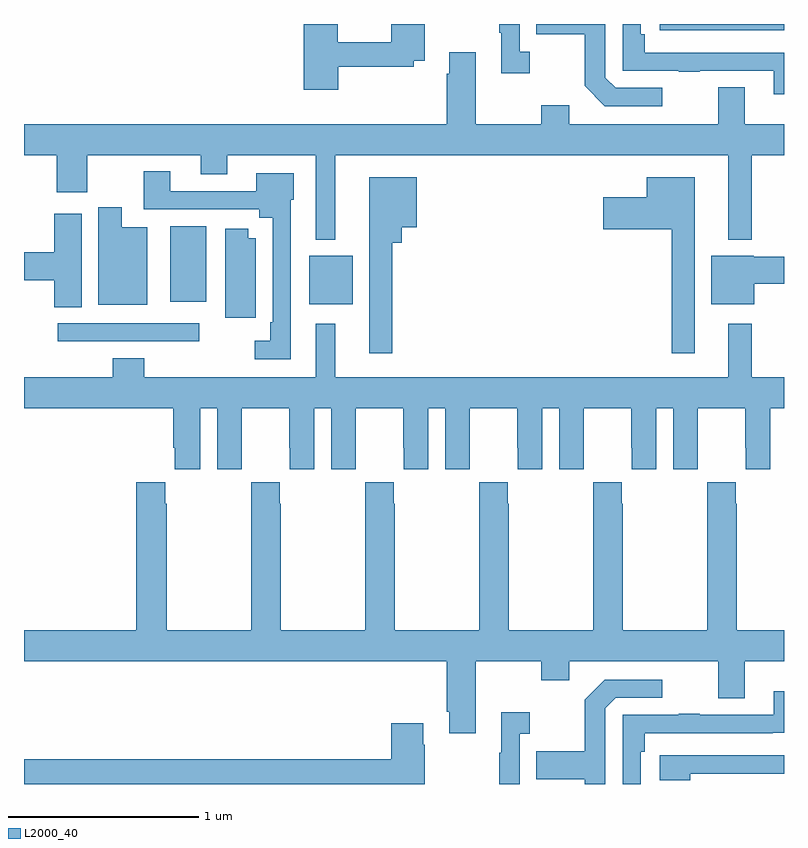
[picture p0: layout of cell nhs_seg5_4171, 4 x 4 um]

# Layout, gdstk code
import gdstk
lib = gdstk.Library(unit=1e-6, precision=1e-09)
def R(c, l, rs):  # rectangles x0, y0, x1, y1
    for r in rs: c.add(gdstk.rectangle(r[:2], r[2:], *l))
def P(c, l, *ps):  # polygons
    for p in ps: c.add(gdstk.Polygon(p, *l))
L2000_40 = (2000, 40)

nhs_seg5_4171 = lib.new_cell('nhs_seg5_4171')
R(nhs_seg5_4171, L2000_40, [(357.177,841.128,357.922,841.224), (358.502,841.325,358.729,841.579), (357.77,841.337,357.958,841.735), (360.345,842.766,361,842.799)])
P(nhs_seg5_4171, L2000_40, [(359.662,842.654),(359.61,842.654),(359.61,842.799),(359.502,842.799),(359.502,842.753),(359.513,842.753),(359.513,842.541),(359.662,842.541)],
  [(358.655,842.574),(359.052,842.574),(359.052,842.606),(359.109,842.606),(359.109,842.799),(358.934,842.799),(358.934,842.702),(358.65,842.702),(358.65,842.799),(358.472,842.799),(358.472,842.454),(358.655,842.454)],
  [(360.358,842.463),(360.114,842.463),(360.06,842.517),(360.06,842.799),(359.695,842.799),(359.695,842.746),(359.952,842.746),(359.952,842.473),(360.057,842.367),(360.358,842.367)],
  [(361,842.648),(360.941,842.648),(360.941,842.649),(360.266,842.649),(360.266,842.746),(360.246,842.746),(360.246,842.799),(360.15,842.799),(360.15,842.553),(360.445,842.553),(360.445,842.548),(360.557,842.548),(360.557,842.553),(360.947,842.553),(360.947,842.43),(361,842.43)],
  [(358.639,842.108),(360.707,842.108),(360.707,841.664),(360.829,841.664),(360.829,842.108),(361,842.108),(361,842.272),(360.793,842.272),(360.793,842.467),(360.653,842.467),(360.653,842.272),(359.869,842.272),(359.869,842.371),(359.722,842.371),(359.722,842.272),(359.377,842.272),(359.377,842.65),(359.237,842.65),(359.237,842.537),(359.225,842.537),(359.225,842.272),(357,842.272),(357,842.108),(357.173,842.108),(357.173,841.914),(357.333,841.914),(357.333,842.108),(357.929,842.108),(357.929,842.009),(358.069,842.009),(358.069,842.108),(358.535,842.108),(358.535,841.664),(358.639,841.664)],
  [(358.404,841.675),(358.405,841.675),(358.405,841.875),(358.42,841.875),(358.42,842.014),(358.223,842.014),(358.223,841.92),(357.769,841.92),(357.769,842.023),(357.629,842.023),(357.629,841.824),(358.238,841.824),(358.238,841.778),(358.308,841.778),(358.308,841.228),(358.296,841.228),(358.296,841.131),(358.215,841.131),(358.215,841.035),(358.404,841.035)],
  [(360.529,841.993),(360.278,841.993),(360.278,841.888),(360.048,841.888),(360.048,841.718),(360.408,841.718),(360.408,841.065),(360.529,841.065)],
  [(358.939,841.649),(358.988,841.649),(358.988,841.73),(359.068,841.73),(359.068,841.993),(358.817,841.993),(358.817,841.065),(358.939,841.065)],
  [(357.649,841.729),(357.514,841.729),(357.514,841.834),(357.392,841.834),(357.392,841.322),(357.649,841.322)],
  [(357.304,841.801),(357.158,841.801),(357.158,841.598),(357,841.598),(357,841.451),(357.158,841.451),(357.158,841.309),(357.304,841.309)],
  [(358.219,841.672),(358.18,841.672),(358.18,841.721),(358.058,841.721),(358.058,841.254),(358.219,841.254)],
  [(360.844,841.432),(361,841.432),(361,841.574),(360.84,841.574),(360.84,841.579),(360.617,841.579),(360.617,841.325),(360.844,841.325)],
  [(357.928,840.776),(358.016,840.776),(358.016,840.456),(358.146,840.456),(358.146,840.568),(358.147,840.568),(358.147,840.776),(358.397,840.776),(358.397,840.568),(358.398,840.568),(358.398,840.456),(358.528,840.456),(358.528,840.776),(358.616,840.776),(358.616,840.456),(358.746,840.456),(358.746,840.568),(358.747,840.568),(358.747,840.776),(358.997,840.776),(358.997,840.568),(358.998,840.568),(358.998,840.456),(359.128,840.456),(359.128,840.776),(359.216,840.776),(359.216,840.456),(359.346,840.456),(359.346,840.568),(359.347,840.568),(359.347,840.776),(359.597,840.776),(359.597,840.568),(359.598,840.568),(359.598,840.456),(359.728,840.456),(359.728,840.776),(359.816,840.776),(359.816,840.456),(359.946,840.456),(359.946,840.568),(359.947,840.568),(359.947,840.776),(360.197,840.776),(360.197,840.568),(360.198,840.568),(360.198,840.456),(360.328,840.456),(360.328,840.776),(360.416,840.776),(360.416,840.456),(360.546,840.456),(360.546,840.568),(360.547,840.568),(360.547,840.776),(360.797,840.776),(360.797,840.568),(360.798,840.568),(360.798,840.456),(360.928,840.456),(360.928,840.776),(361,840.776),(361,840.94),(360.829,840.94),(360.829,841.222),(360.707,841.222),(360.707,840.94),(358.639,840.94),(358.639,841.222),(358.535,841.222),(358.535,840.94),(357.632,840.94),(357.632,841.039),(357.467,841.039),(357.467,840.94),(357,840.94),(357,840.776),(357.785,840.776),(357.785,840.568),(357.794,840.568),(357.794,840.456),(357.928,840.456)],
  [(358.947,840.275),(358.947,840.388),(358.797,840.388),(358.797,840.275),(358.795,840.275),(358.795,839.608),(358.35,839.608),(358.35,840.275),(358.347,840.275),(358.347,840.388),(358.197,840.388),(358.197,840.275),(358.195,840.275),(358.195,839.608),(357.75,839.608),(357.75,840.275),(357.743,840.275),(357.743,840.388),(357.59,840.388),(357.59,839.608),(357,839.608),(357,839.444),(359.225,839.444),(359.225,839.179),(359.237,839.179),(359.237,839.067),(359.377,839.067),(359.377,839.444),(359.722,839.444),(359.722,839.345),(359.869,839.345),(359.869,839.444),(360.653,839.444),(360.653,839.25),(360.793,839.25),(360.793,839.444),(361,839.444),(361,839.608),(360.75,839.608),(360.75,840.275),(360.747,840.275),(360.747,840.388),(360.597,840.388),(360.597,840.275),(360.595,840.275),(360.595,839.608),(360.15,839.608),(360.15,840.275),(360.147,840.275),(360.147,840.388),(359.997,840.388),(359.997,840.275),(359.995,840.275),(359.995,839.608),(359.55,839.608),(359.55,840.275),(359.547,840.275),(359.547,840.388),(359.397,840.388),(359.397,840.275),(359.395,840.275),(359.395,839.608),(358.95,839.608),(358.95,840.275)],
  [(360.06,839.199),(360.114,839.253),(360.358,839.253),(360.358,839.349),(360.057,839.349),(359.952,839.243),(359.952,838.971),(359.695,838.971),(359.695,838.823),(359.952,838.823),(359.952,838.799),(360.06,838.799)],
  [(360.246,838.97),(360.266,838.97),(360.266,839.067),(360.941,839.067),(360.941,839.068),(361,839.068),(361,839.287),(360.947,839.287),(360.947,839.163),(360.557,839.163),(360.557,839.168),(360.445,839.168),(360.445,839.163),(360.15,839.163),(360.15,838.799),(360.246,838.799)],
  [(359.61,839.063),(359.662,839.063),(359.662,839.176),(359.513,839.176),(359.513,838.963),(359.502,838.963),(359.502,838.799),(359.61,838.799)],
  [(359.109,839.006),(359.101,839.006),(359.101,839.119),(358.934,839.119),(358.934,838.928),(357,838.928),(357,838.799),(359.109,838.799)],
  [(360.506,838.854),(361,838.854),(361,838.95),(360.345,838.95),(360.345,838.82),(360.506,838.82)])

lib.write_gds('nhs_seg5_4171.gds')
